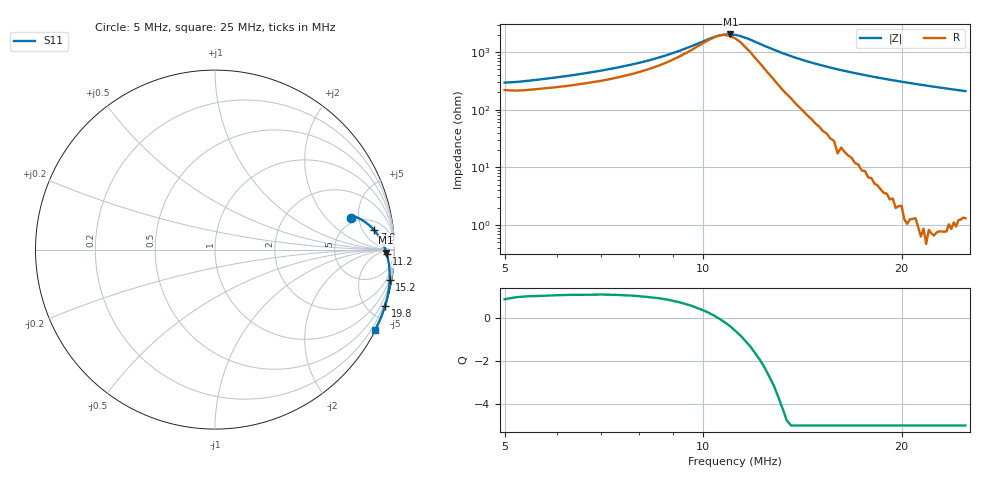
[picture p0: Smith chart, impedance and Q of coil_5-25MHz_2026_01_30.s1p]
# HZ S RI R 50
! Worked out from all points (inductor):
!   101 points, 5 MHz to 25 MHz, reference 50 ohm
!   read as one part to ground: L = 4.94 uH near 5 MHz
!   highest |Z| = 2.02 kohm at 11 MHz (marker M1)
!   self-resonance near 10.57 MHz
!   S11 on the Smith chart (normalised r, x): 5 MHz: 4.38, +3.95; 7.8 MHz: 8, +9; 11.2 MHz: 34, -20; 15.2 MHz: 1, -12; 19.8 MHz: 0.04, -6.24; 25 MHz: 0.03, -4.20
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5000000  0.7582 0.1774
5200000  0.7707 0.1849
5400000  0.7829 0.1831
6000000  0.8146 0.1677
6400000  0.8335 0.1557
7000000  0.859 0.1364
7600000  0.8809 0.1144
7800000  0.8878 0.1073
8600000  0.9113 0.0771
9400000  0.9295 0.0455
1e7  0.9405 0.0223
1.06e7  0.9501 -0.00118
1.1e7  0.9544 -0.0164
1.12e7  0.9571 -0.0243
1.26e7  0.9683 -0.0767
1.38e7  0.9726 -0.1204
1.5e7  0.9728 -0.1618
1.52e7  0.973 -0.1686
1.58e7  0.9714 -0.1884
1.6e7  0.9735 -0.1964
1.62e7  0.9699 -0.2021
1.76e7  0.9637 -0.2461
1.88e7  0.9562 -0.2825
1.98e7  0.9479 -0.3117
2e7  0.946 -0.3173
2.12e7  0.9349 -0.3515
2.26e7  0.9201 -0.3886
2.5e7  0.8903 -0.4492
